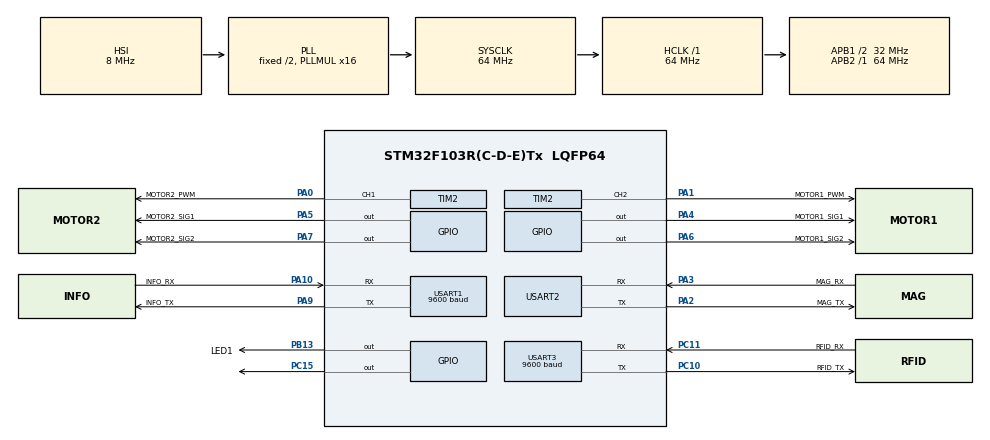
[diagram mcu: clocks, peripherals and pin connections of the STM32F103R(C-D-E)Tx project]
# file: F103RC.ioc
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Mcu.Family=STM32F1
Mcu.Name=STM32F103R(C-D-E)Tx
Mcu.Package=LQFP64
NVIC.PriorityGroup=NVIC_PRIORITYGROUP_2
NVIC.TIM3_IRQn=true\:1\:0\:true\:false\:true\:true\:true
NVIC.USART1_IRQn=true\:2\:0\:true\:true\:true\:1\:true\:true
NVIC.USART2_IRQn=true\:1\:1\:true\:true\:true\:2\:true\:true
NVIC.USART3_IRQn=true\:1\:0\:true\:true\:true\:3\:true\:true
PA0-WKUP.GPIO_Label=MOTOR2_PWM
PA0-WKUP.GPIO_Speed=GPIO_SPEED_FREQ_HIGH
PA0-WKUP.Signal=S_TIM2_CH1_ETR
PA1.GPIO_Label=MOTOR1_PWM
PA1.GPIO_Speed=GPIO_SPEED_FREQ_HIGH
PA1.Signal=S_TIM2_CH2
PA10.GPIO_Label=INFO_RX
PA10.GPIO_PuPd=GPIO_NOPULL
PA10.Mode=Asynchronous
PA10.Signal=USART1_RX
PA2.GPIO_Label=MAG_TX
PA2.Mode=Asynchronous
PA2.Signal=USART2_TX
PA3.GPIO_Label=MAG_RX
PA3.Mode=Asynchronous
PA3.Signal=USART2_RX
PA4.GPIO_Label=MOTOR1_SIG1
PA4.Signal=GPIO_Output
PA5.GPIO_Label=MOTOR2_SIG1
PA5.GPIO_PuPd=GPIO_PULLDOWN
PA5.Signal=GPIO_Output
PA6.GPIO_Label=MOTOR1_SIG2
PA6.GPIO_PuPd=GPIO_PULLDOWN
PA6.Signal=GPIO_Output
PA7.GPIO_Label=MOTOR2_SIG2
PA7.GPIO_PuPd=GPIO_PULLDOWN
PA7.Signal=GPIO_Output
PA9.GPIO_Label=INFO_TX
PA9.GPIO_Speed=GPIO_SPEED_FREQ_MEDIUM
PA9.Mode=Asynchronous
PA9.Signal=USART1_TX
PB13.GPIO_Label=LED1
PB13.GPIO_PuPd=GPIO_PULLDOWN
PB13.Signal=GPIO_Output
PC10.GPIO_Label=RFID_TX
PC10.GPIO_Speed=GPIO_SPEED_FREQ_HIGH
PC10.Mode=Asynchronous
PC10.Signal=USART3_TX
PC11.GPIO_Label=RFID_RX
PC11.GPIO_PuPd=GPIO_NOPULL
PC11.Mode=Asynchronous
PC11.Signal=USART3_RX
PC15-OSC32_OUT.GPIO_PuPd=GPIO_PULLDOWN
PC15-OSC32_OUT.Signal=GPIO_Output
ProjectManager.HeapSize=0x200
ProjectManager.StackSize=0x400
ProjectManager.TargetToolchain=MDK-ARM V5
RCC.AHBFreq_Value=64000000
RCC.APB1CLKDivider=RCC_HCLK_DIV2
RCC.APB1Freq_Value=32000000
RCC.APB1TimFreq_Value=64000000
RCC.APB2Freq_Value=64000000
RCC.APB2TimFreq_Value=64000000
RCC.HCLKFreq_Value=64000000
RCC.PLLMUL=RCC_PLL_MUL16
RCC.SYSCLKFreq_VALUE=64000000
RCC.SYSCLKSource=RCC_SYSCLKSOURCE_PLLCLK
RCC.USBFreq_Value=64000000
SH.S_TIM2_CH1_ETR.0=TIM2_CH1,PWM Generation1 CH1
SH.S_TIM2_CH2.0=TIM2_CH2,PWM Generation2 CH2
TIM2.Channel-PWM\ Generation1\ CH1=TIM_CHANNEL_1
TIM2.Channel-PWM\ Generation2\ CH2=TIM_CHANNEL_2
TIM2.Period=100-1
TIM2.Prescaler=1-1
TIM2.Pulse-PWM\ Generation1\ CH1=20
TIM2.Pulse-PWM\ Generation2\ CH2=20
TIM3.AutoReloadPreload=TIM_AUTORELOAD_PRELOAD_ENABLE
TIM3.Period=1000-1
TIM3.Prescaler=64000-1
USART1.BaudRate=9600
USART1.VirtualMode=VM_ASYNC
USART2.VirtualMode=VM_ASYNC
USART3.BaudRate=9600
USART3.Mode=MODE_RX
USART3.VirtualMode=VM_ASYNC
VP_SYS_VS_ND.Mode=No_Debug
VP_TIM2_VS_ClockSourceINT.Mode=Internal
VP_TIM3_VS_ClockSourceINT.Mode=Internal
board=custom

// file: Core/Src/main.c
/* USER CODE BEGIN Header */
/**
  ******************************************************************************
  * @file           : main.c
  * @brief          : Main program body
  ******************************************************************************
  * @attention
  *
  * <h2><center>&copy; Copyright (c) 2021 STMicroelectronics.
  * All rights reserved.</center></h2>
  *
  * This software component is licensed by ST under BSD 3-Clause license,
  * the "License"; You may not use this file except in compliance with the
  * License. You may obtain a copy of the License at:
  *                        opensource.org/licenses/BSD-3-Clause
  *
  ******************************************************************************
  */
/* USER CODE END Header */
#include "main.h"
#include "tim.h"
#include "usart.h"
#include "gpio.h"

/* USER CODE BEGIN PD */
#define USER_MAIN_DEBUG
#define COMMAND_BUFFER_SIZE 256
#define MOTOR_NUM 2
#define FULL_PULSE 100
#define DELTA_PULSE 1
#define MAG_BUFFER_LEN 9
#define CARD_BUFFER_LEN 16
#define huart_info huart1
#define huart_mag huart2
#define huart_rfid huart3
/* USER CODE END PD */

/* USER CODE BEGIN PM */
#ifdef USER_MAIN_DEBUG
#define user_main_printf(format, ...) printf( format "\r\n", ##__VA_ARGS__)
#define user_main_info(format, ...) printf("[\tmain]info:" format "\r\n", ##__VA_ARGS__)
#define user_main_debug(format, ...) printf("[\tmain]debug:" format "\r\n", ##__VA_ARGS__)
#define user_main_error(format, ...) printf("[\tmain]error:" format "\r\n", ##__VA_ARGS__)
#else
#define user_main_printf(format, ...)
#define user_main_info(format, ...)
#define user_main_debug(format, ...)
#define user_main_error(format, ...)
#endif
#define abs(x) ((x)>=0?(x):-(x))
#define max(a,b) ((a) > (b) ? (a) : (b))
#define min(a,b) ((a) < (b) ? (a) : (b))
/* USER CODE END PM */

/* USER CODE BEGIN PV */
uint8_t infoBuffer[1];      // info receive buffer
uint8_t cardBuffer[CARD_BUFFER_LEN];      // card receive buffer
uint8_t magBuffer[MAG_BUFFER_LEN];      // magnetic receive buffer
// command buffer
uint8_t cmdBuffer[COMMAND_BUFFER_SIZE];
uint8_t cmdPtr = 0;
uint8_t cmdCompleted = 0;
// motor variables
int16_t pulse_motor[MOTOR_NUM] = {0};
uint32_t channel_motor[MOTOR_NUM] = {TIM_CHANNEL_1, TIM_CHANNEL_2};
GPIO_TypeDef* motor_sig_port[MOTOR_NUM][2] = {{MOTOR1_SIG1_GPIO_Port, MOTOR1_SIG2_GPIO_Port},
																							{MOTOR2_SIG1_GPIO_Port, MOTOR2_SIG2_GPIO_Port}};
uint16_t motor_sig_pin[MOTOR_NUM][2] = {{MOTOR1_SIG1_Pin, MOTOR1_SIG2_Pin},
																				{MOTOR2_SIG1_Pin, MOTOR2_SIG2_Pin}};
// stop & speed
uint8_t moving_status = 0; // 0 for break; 1 for forward; 2 for backward; 3 for turn left; 4 for turn right;
uint8_t forward_speed = 0;
// site
uint8_t target_site = 0;
// pid
int16_t PID_previous_error = 0;
int16_t PID_integral = 0;
float Kp=0.1;
float Ki=0.01;
float Kd=0.05;
/* USER CODE END PV */

void SystemClock_Config(void);
static void MX_NVIC_Init(void);

/* USER CODE BEGIN 0 */
int fputc(int ch, FILE *f){
	uint8_t temp[1] = {ch};
	HAL_UART_Transmit(&huart_info, temp, 1, 2); // modify huart_info in need
	return ch;
}

int atoi(char* source){
	int length = strlen(source);
	int sum = 0;
	for(int i=0;i<length;i++){
		sum = sum*10 + (source[i]-'0');
	}
	return sum;
}
/* USER CODE END 0 */

int main(void)
{

  /* MCU Configuration--------------------------------------------------------*/

  /* Reset of all peripherals, Initializes the Flash interface and the Systick. */
  HAL_Init();

  /* Configure the system clock */
  SystemClock_Config();

  /* Initialize all configured peripherals */
  MX_GPIO_Init();
  MX_TIM2_Init();
  MX_USART1_UART_Init();
  MX_USART2_UART_Init();
  MX_USART3_UART_Init();
  MX_TIM3_Init();

  /* Initialize interrupts */
  MX_NVIC_Init();
  /* USER CODE BEGIN 2 */
	user_main_printf("Welcome to STM32F103!");
	for(uint8_t i=0; i<MOTOR_NUM; ++i){
		HAL_TIM_PWM_Start(&htim2, channel_motor[i]); // enable PWM2 channel
	}
	HAL_TIM_Base_Start_IT(&htim3); // enable timer3 interrupt
	HAL_UART_Receive_IT(&huart_info, infoBuffer, 1); //enable usart1 reveive
	HAL_UART_Receive_IT(&huart_rfid, cardBuffer, CARD_BUFFER_LEN); //enable card usart reveive
	HAL_UART_Receive_IT(&huart_mag, magBuffer, MAG_BUFFER_LEN); //enable mag usart reveive
  /* USER CODE END 2 */

  /* Infinite loop */
  while (1)
  {

    /* USER CODE BEGIN 3 */
		// HAL_Delay(50);
		// HAL_GPIO_TogglePin(LED1_GPIO_Port, LED1_Pin);
		// HAL_Delay(50);
  }
  /* USER CODE END 3 */
}

void SystemClock_Config(void)
{
  RCC_OscInitTypeDef RCC_OscInitStruct = {0};
  RCC_ClkInitTypeDef RCC_ClkInitStruct = {0};

  /** Initializes the RCC Oscillators according to the specified parameters
  * in the RCC_OscInitTypeDef structure.
  */
  RCC_OscInitStruct.OscillatorType = RCC_OSCILLATORTYPE_HSI;
  RCC_OscInitStruct.HSIState = RCC_HSI_ON;
  RCC_OscInitStruct.HSICalibrationValue = RCC_HSICALIBRATION_DEFAULT;
  RCC_OscInitStruct.PLL.PLLState = RCC_PLL_ON;
  RCC_OscInitStruct.PLL.PLLSource = RCC_PLLSOURCE_HSI_DIV2;
  RCC_OscInitStruct.PLL.PLLMUL = RCC_PLL_MUL16;
  if (HAL_RCC_OscConfig(&RCC_OscInitStruct) != HAL_OK)
  {
    Error_Handler();
  }
  /** Initializes the CPU, AHB and APB buses clocks
  */
  RCC_ClkInitStruct.ClockType = RCC_CLOCKTYPE_HCLK|RCC_CLOCKTYPE_SYSCLK
                              |RCC_CLOCKTYPE_PCLK1|RCC_CLOCKTYPE_PCLK2;
  RCC_ClkInitStruct.SYSCLKSource = RCC_SYSCLKSOURCE_PLLCLK;
  RCC_ClkInitStruct.AHBCLKDivider = RCC_SYSCLK_DIV1;
  RCC_ClkInitStruct.APB1CLKDivider = RCC_HCLK_DIV2;
  RCC_ClkInitStruct.APB2CLKDivider = RCC_HCLK_DIV1;

  if (HAL_RCC_ClockConfig(&RCC_ClkInitStruct, FLASH_LATENCY_2) != HAL_OK)
  {
    Error_Handler();
  }
}

/**
  * @brief NVIC Configuration.
  * @retval None
  */
static void MX_NVIC_Init(void)
{
  /* USART1_IRQn interrupt configuration */
  HAL_NVIC_SetPriority(USART1_IRQn, 2, 0);
  HAL_NVIC_EnableIRQ(USART1_IRQn);
  /* USART2_IRQn interrupt configuration */
  HAL_NVIC_SetPriority(USART2_IRQn, 1, 1);
  HAL_NVIC_EnableIRQ(USART2_IRQn);
  /* USART3_IRQn interrupt configuration */
  HAL_NVIC_SetPriority(USART3_IRQn, 1, 0);
  HAL_NVIC_EnableIRQ(USART3_IRQn);
}

/* USER CODE BEGIN 4 */
// motor
void LogicSwitch(uint8_t motor_id, int8_t logic){
	switch(logic){
		case 1:{ // xuan kong
			HAL_GPIO_WritePin(motor_sig_port[motor_id][0], motor_sig_pin[motor_id][0], GPIO_PIN_SET);
			HAL_GPIO_WritePin(motor_sig_port[motor_id][1], motor_sig_pin[motor_id][1], GPIO_PIN_SET);
			break;
		}
		case 2:{ // zheng zhuan
			HAL_GPIO_WritePin(motor_sig_port[motor_id][0], motor_sig_pin[motor_id][0], GPIO_PIN_SET);
			HAL_GPIO_WritePin(motor_sig_port[motor_id][1], motor_sig_pin[motor_id][1], GPIO_PIN_RESET);
			break;
		}
		case 3:{ // fan zhuan
			HAL_GPIO_WritePin(motor_sig_port[motor_id][0], motor_sig_pin[motor_id][0], GPIO_PIN_RESET);
			HAL_GPIO_WritePin(motor_sig_port[motor_id][1], motor_sig_pin[motor_id][1], GPIO_PIN_SET);
			break;
		}
		default:{ // sha che
			HAL_GPIO_WritePin(motor_sig_port[motor_id][0], motor_sig_pin[motor_id][0], GPIO_PIN_RESET);
			HAL_GPIO_WritePin(motor_sig_port[motor_id][1], motor_sig_pin[motor_id][1], GPIO_PIN_RESET);
		}
	}
}
void ModifyPulse(uint8_t motor_id, int16_t pulse){
	pulse = max(DELTA_PULSE-FULL_PULSE, min(pulse, FULL_PULSE-DELTA_PULSE));
	pulse_motor[motor_id] = pulse;
	LogicSwitch(motor_id, pulse>0?2:3);
	user_main_printf("[\thandleCmd]ModifyPulse: %d!", pulse);
	__HAL_TIM_SET_COMPARE(&htim2, channel_motor[motor_id], abs(pulse)); // modify pulse
}
void SpeedUp(uint8_t motor_id, int16_t pulse){
	ModifyPulse(motor_id, pulse_motor[motor_id]+pulse);
}
void SlowDown(uint8_t motor_id, int16_t pulse){
	ModifyPulse(motor_id, pulse_motor[motor_id]-pulse);
}
void MotorHang(){
	for(uint8_t i=0; i<MOTOR_NUM; ++i){
		LogicSwitch(i, 1);
	}
}
void MotorOn(){
	moving_status = 1;
	for(uint8_t i=0; i<MOTOR_NUM; ++i){
		LogicSwitch(i, 2);
	}
}
void MotorOff(){
	moving_status = 0;
	for(uint8_t i=0; i<MOTOR_NUM; ++i){
		LogicSwitch(i, 0);
	}
}
void MotorSpeedUp(){
	for(uint8_t i=0; i<MOTOR_NUM; ++i){
		SpeedUp(i, DELTA_PULSE);
	}
}
void MotorSlowDown(){
	for(uint8_t i=0; i<MOTOR_NUM; ++i){
		SlowDown(i, DELTA_PULSE);
	}
}
void MotorTurnLeft(){
	moving_status = 3;
	SlowDown(0, 5*DELTA_PULSE);
	SpeedUp(1, 5*DELTA_PULSE);
}
void MotorTurnRight(){
	moving_status = 4;
	SpeedUp(0, 5*DELTA_PULSE);
	SlowDown(1, 5*DELTA_PULSE);
}
void MagneticGuide(int8_t* magStatus){
	if(moving_status == 0){ // stop status
		return;
	}
	uint8_t absMag[8] = {0};
	for(uint16_t i=0; i<8; ++i){
		absMag[i] = abs(magStatus[i]);
	}
	user_main_printf("[\thandleNVIC3]: read mag %d %d %d %d %d %d %d %d!",
									 magStatus[0], magStatus[1], magStatus[2], magStatus[3],
									 magStatus[4], magStatus[5], magStatus[6], magStatus[7]);
	int16_t measured_value = 0;
	for(uint16_t i=0; i<4; ++i){
		measured_value += absMag[i] - absMag[7-i];
	}
	//int16_t PID_error = 0 - measured_value;
	//PID_integral = PID_integral + PID_error*1;
	//int16_t PID_derivative = (PID_error - PID_previous_error) / 1;
	//float PID_output = Kp*PID_error + Ki*PID_integral + Kd*PID_derivative;
	//PID_previous_error = PID_error;
	user_main_printf("[\tGuide]: output %d!", measured_value);
	int16_t forward_thres = 20;
	if(abs(measured_value)<forward_thres){
		moving_status = 1; // forward
		ModifyPulse(0, (int16_t)forward_speed);
		ModifyPulse(1, (int16_t)forward_speed);
	}
	if(measured_value<-1*forward_thres){
		if(moving_status!=3){ // turn left
			moving_status = 3;
			ModifyPulse(0, (int16_t)forward_speed-5*DELTA_PULSE);
			ModifyPulse(1, (int16_t)forward_speed+5*DELTA_PULSE);
		}
	}
	if(measured_value>forward_thres){
		if(moving_status!=4){ // turn right
			moving_status = 4;
			ModifyPulse(0, (int16_t)forward_speed+5*DELTA_PULSE);
			ModifyPulse(1, (int16_t)forward_speed-5*DELTA_PULSE);
		}
	}
}

//清空接收缓冲
void clearCmdBuffer(void)
{
  cmdPtr = 0;
  cmdBuffer[cmdPtr] = 0;
}
void handleCmd(void){
	user_main_printf("[\thandleCmd]Handle Cmd: %s!", cmdBuffer);
	char delim[] = " ";
	char *cmdseg = strtok((char*)cmdBuffer, delim);
	if(cmdseg!=NULL){
		char *idstr = strtok(NULL, delim);
		if(idstr!=NULL){
			uint8_t mid = idstr[0] - '1';
			if(strcmp(cmdseg, "on")==0){
				user_main_printf("[\thandleCmd]Handle Cmd: on!");
				LogicSwitch(mid, 1);
			}
			if(strcmp(cmdseg, "off")==0){
				user_main_printf("[\thandleCmd]Handle Cmd: off!");
				LogicSwitch(mid, 0);
			}
			if(strcmp(cmdseg, "up")==0){
				user_main_printf("[\thandleCmd]Handle Cmd: speed up!");
				SpeedUp(mid, DELTA_PULSE);
			}
			if(strcmp(cmdseg, "down")==0){
				user_main_printf("[\thandleCmd]Handle Cmd: slow down!");
				SlowDown(mid, DELTA_PULSE);
			}
			if(strcmp(cmdseg, "speed")==0){
				user_main_printf("[\thandleCmd]Handle Cmd: set speed!");
				forward_speed = atoi(idstr);
				user_main_printf("[\thandleCmd]speed set to %d!", forward_speed);
			}
		}else{
			if(strcmp(cmdseg, "stop")==0){
				user_main_printf("[\thandleCmd]Handle Cmd: stop!");
				moving_status = 0;
				MotorOff();
			}
			if(strcmp(cmdseg, "start")==0){
				user_main_printf("[\thandleCmd]Handle Cmd: start!");
				moving_status = 1;
				MotorOn();
			}
			if(strcmp(cmdseg, "left")==0){
				user_main_printf("[\thandleCmd]Handle Cmd: left!");
				MotorTurnLeft();
			}
			if(strcmp(cmdseg, "right")==0){
				user_main_printf("[\thandleCmd]Handle Cmd: right!");
				MotorTurnRight();
			}
			if(strcmp(cmdseg, "up")==0){
				user_main_printf("[\thandleCmd]Handle Cmd: up!");
				MotorSpeedUp();
			}
			if(strcmp(cmdseg, "down")==0){
				user_main_printf("[\thandleCmd]Handle Cmd: down!");
				MotorSlowDown();
			}
		}
	}
	clearCmdBuffer();
}
void addCmdBuffer(uint8_t data)
{
	if(data == '\r' ){
		return;
	}
	//如果为回车键，则开始处理串口数据
	if(data == '\n'){
		cmdCompleted = 1;
		handleCmd();
		return;
	}
	// add cmd
	if(cmdPtr < (COMMAND_BUFFER_SIZE - 1)){
		cmdBuffer[cmdPtr] = data;
		cmdBuffer[cmdPtr + 1]=0x00;
		cmdPtr++;
	}
	else{
		cmdBuffer[cmdPtr - 1] = data;
	}

}

void HAL_UART_RxCpltCallback(UART_HandleTypeDef *huart)
{
	if(huart == &huart_info){
		uint8_t data = infoBuffer[0];
		addCmdBuffer(data);
		HAL_UART_Receive_IT(&huart_info, infoBuffer, 1);
	}
	if(huart == &huart_rfid){
		uint8_t card_id = cardBuffer[15];
		user_main_printf("[\thandleNVIC2]: read card %d!", card_id);
		if(card_id == target_site){
			MotorOff();
		}
		HAL_UART_Receive_IT(&huart_rfid, cardBuffer, CARD_BUFFER_LEN);
	}
	if(huart == &huart_mag){
		// user_main_printf("[\thandleNVIC3]:+++++ mag start +++++!");
		int8_t magStatus[8] = {0};
		for(uint16_t i=0; i<8; ++i){
			magStatus[i] = (int8_t)magBuffer[i];
		}

		MagneticGuide(magStatus);
		//user_main_printf("[\thandleNVIC3]: read mag %d %d %d %d %d %d %d %d!",
		//									magStatus[0], magStatus[1], magStatus[2], magStatus[3],
		//									 magStatus[4], magStatus[5], magStatus[6], magStatus[7]);
		// user_main_printf("[\thandleNVIC3]:----- mag end -----!");
		HAL_UART_Receive_IT(&huart_mag, magBuffer, MAG_BUFFER_LEN);
	}
}
void HAL_UART_ErrorCallback(UART_HandleTypeDef *huart)
{
	if(huart == &huart_rfid)
	{
		__HAL_UNLOCK(huart);
		HAL_UART_Receive_IT(&huart_rfid, cardBuffer, CARD_BUFFER_LEN);
	}
	if(huart == &huart_mag)
	{
		__HAL_UNLOCK(huart);
		HAL_UART_Receive_IT(&huart_mag, magBuffer, MAG_BUFFER_LEN);
	}
}

void HAL_TIM_PeriodElapsedCallback(TIM_HandleTypeDef *htim)
{
	if (htim == (&htim3))
	{
		if(moving_status!=0){
			uint8_t mag_addr[1] = {0xC1};
			HAL_UART_Transmit(&huart_mag, mag_addr, 1, 2); // send magnetic address
			HAL_GPIO_TogglePin(LED1_GPIO_Port, LED1_Pin);
		}
	}
}
/* USER CODE END 4 */

void Error_Handler(void)
{
  __disable_irq();
  while (1)
  {
  }
}

/************************ (C) COPYRIGHT STMicroelectronics *****END OF FILE****/
